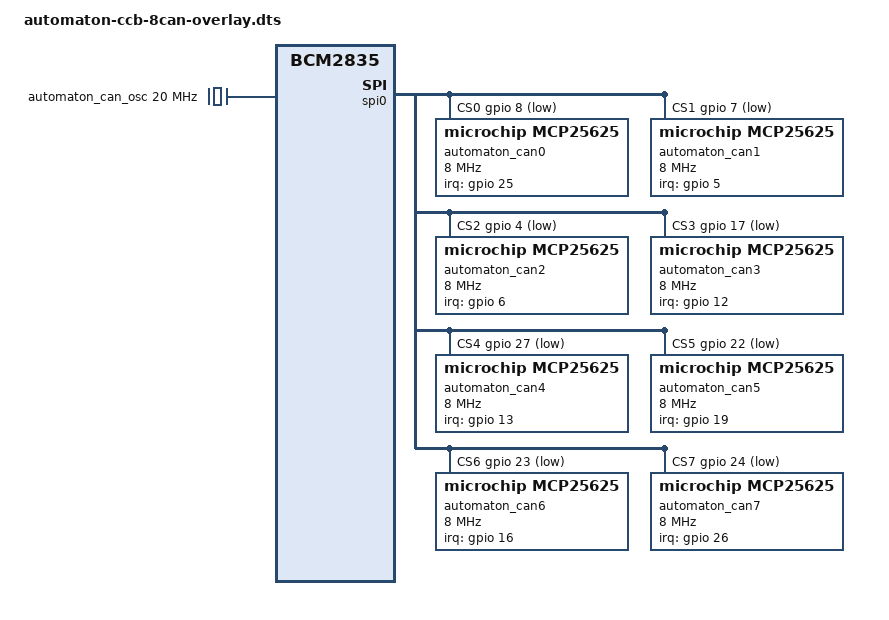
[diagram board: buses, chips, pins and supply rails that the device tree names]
/dts-v1/;
/plugin/;

/ {
    compatible = "brcm,bcm2712", "brcm,bcm2835";

    fragment@0 {
        target = <&spidev0>;
        __overlay__ { status = "disabled"; };
    };

    fragment@1 {
        target = <&spidev1>;
        __overlay__ { status = "disabled"; };
    };

    fragment@2 {
        target-path = "/";
        __overlay__ {
            automaton_can_osc: automaton-can-osc {
                compatible = "fixed-clock";
                #clock-cells = <0>;
                clock-frequency = <20000000>;
            };
        };
    };

    fragment@3 {
        target = <&spi0>;
        __overlay__ {
            status = "okay";
            #address-cells = <1>;
            #size-cells = <0>;

            /*
             * Pi 5/RP1 SPI uses GPIO chip selects. These are the exact CCB nets:
             * CS0..7 = BCM 8,7,4,17,27,22,23,24.
             * The active-low flag is 1 (GPIO_ACTIVE_LOW).
             */
            num-cs = <8>;
            cs-gpios = <&gpio 8 1>,
                       <&gpio 7 1>,
                       <&gpio 4 1>,
                       <&gpio 17 1>,
                       <&gpio 27 1>,
                       <&gpio 22 1>,
                       <&gpio 23 1>,
                       <&gpio 24 1>;

            automaton_can0: can@0 {
                compatible = "microchip,mcp25625";
                reg = <0>;
                spi-max-frequency = <8000000>;
                interrupt-parent = <&gpio>;
                interrupts = <25 8>; /* IRQ_TYPE_LEVEL_LOW; MCP25625 INT is active-low until flags are cleared */
                clocks = <&automaton_can_osc>;
                status = "okay";
            };

            automaton_can1: can@1 {
                compatible = "microchip,mcp25625";
                reg = <1>;
                spi-max-frequency = <8000000>;
                interrupt-parent = <&gpio>;
                interrupts = <5 8>;
                clocks = <&automaton_can_osc>;
                status = "okay";
            };

            automaton_can2: can@2 {
                compatible = "microchip,mcp25625";
                reg = <2>;
                spi-max-frequency = <8000000>;
                interrupt-parent = <&gpio>;
                interrupts = <6 8>;
                clocks = <&automaton_can_osc>;
                status = "okay";
            };

            automaton_can3: can@3 {
                compatible = "microchip,mcp25625";
                reg = <3>;
                spi-max-frequency = <8000000>;
                interrupt-parent = <&gpio>;
                interrupts = <12 8>;
                clocks = <&automaton_can_osc>;
                status = "okay";
            };

            automaton_can4: can@4 {
                compatible = "microchip,mcp25625";
                reg = <4>;
                spi-max-frequency = <8000000>;
                interrupt-parent = <&gpio>;
                interrupts = <13 8>;
                clocks = <&automaton_can_osc>;
                status = "okay";
            };

            automaton_can5: can@5 {
                compatible = "microchip,mcp25625";
                reg = <5>;
                spi-max-frequency = <8000000>;
                interrupt-parent = <&gpio>;
                interrupts = <19 8>;
                clocks = <&automaton_can_osc>;
                status = "okay";
            };

            automaton_can6: can@6 {
                compatible = "microchip,mcp25625";
                reg = <6>;
                spi-max-frequency = <8000000>;
                interrupt-parent = <&gpio>;
                interrupts = <16 8>;
                clocks = <&automaton_can_osc>;
                status = "okay";
            };

            automaton_can7: can@7 {
                compatible = "microchip,mcp25625";
                reg = <7>;
                spi-max-frequency = <8000000>;
                interrupt-parent = <&gpio>;
                interrupts = <26 8>;
                clocks = <&automaton_can_osc>;
                status = "okay";
            };
        };
    };
};
